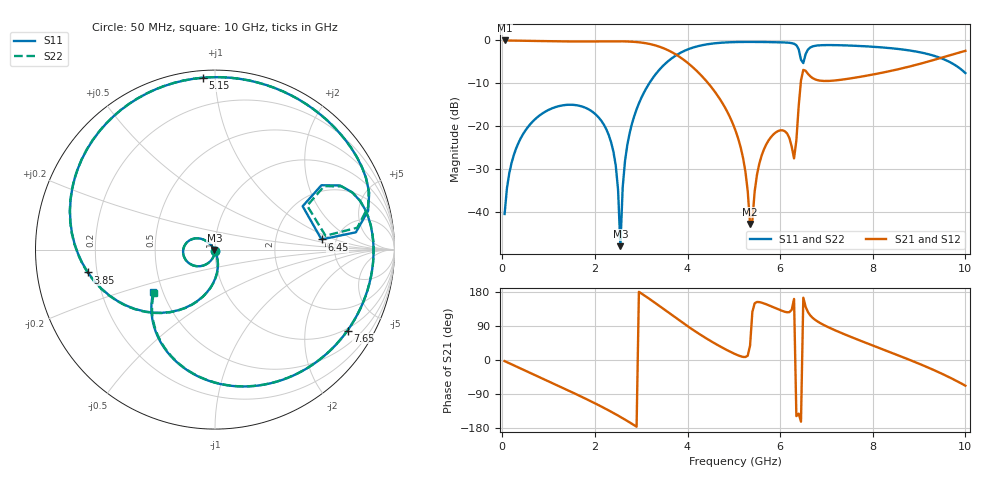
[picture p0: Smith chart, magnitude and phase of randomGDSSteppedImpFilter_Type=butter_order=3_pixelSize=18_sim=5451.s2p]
! freq	dB(S11)	phase(S11)	dB(S12)	phase(S12)
!  dB(S21)	phase(S21)	dB(S22)	phase(S22)
!S-par simulation data
#  GHz  S  DB  R 50
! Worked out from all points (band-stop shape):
!   200 points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, 50 MHz to 10 GHz, reference 50 ohm
!   highest |S21| = 0.00 dB at 50 MHz (marker M1); lowest = -42.7 dB at 5.35 GHz (marker M2)
!   |S21| within 3 dB of the highest: start of sweep to 3.707 GHz; 9.804 GHz to end of sweep
!   lowest |S11| = -47.9 dB at 2.55 GHz (marker M3), VSWR 1.01, Z = 49.7 - j0.227 ohm
!   |S11| at or under -10 dB: start of sweep to 3.173 GHz
!   |S22| runs from -48.0 to -0.3 dB; largest |S21 - S12| = 0
!   S11 on the Smith chart (normalised r, x): 50 MHz: 1.00, -0.02; 3.85 GHz: 0.16, -0.09; 5.15 GHz: 0.04, +0.93; 6.45 GHz: 3.83, +0.67; 7.65 GHz: 0.93, -3.32; 10 GHz: 0.44, -0.25
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0.05  -40.41 -92.3  -0.00 -2.9  -0.00 -2.9  -40.41 -92.3
0.2  -28.52 -101.3  -0.02 -11.4  -0.02 -11.4  -28.52 -101.3
0.55  -20.21 -121.7  -0.08 -31.2  -0.08 -31.2  -20.21 -121.7
1.75  -15.49 170.2  -0.24 -99.2  -0.24 -99.2  -15.49 170.3
2.35  -23.71 134.8  -0.19 -136.5  -0.19 -136.5  -23.71 134.9
2.5  -34.77 132.6  -0.20 -146.6  -0.20 -146.6  -34.78 132.5
2.55  -47.90 -145.5  -0.20 -150.1  -0.20 -150.1  -48.03 -144.8
2.6  -34.21 -76.3  -0.21 -153.6  -0.21 -153.6  -34.21 -75.9
2.75  -21.57 -78.7  -0.27 -164.6  -0.27 -164.6  -21.57 -78.5
3.4  -6.73 -130.2  -1.48 141.9  -1.48 141.9  -6.72 -129.9
3.85  -2.86 -169.8  -3.98 102.1  -3.98 102.1  -2.86 -169.5
4.35  -1.04 149.3  -8.77 61.2  -8.77 61.2  -1.04 149.6
5.05  -0.37 100.4  -21.41 14.4  -21.41 14.4  -0.37 100.9
5.15  -0.35 94.1  -25.02 9.7  -25.02 9.7  -0.35 94.5
5.35  -0.34 81.7  -42.72 38.0  -42.72 38.0  -0.34 82.2
5.75  -0.38 57.8  -23.28 144.6  -23.28 144.6  -0.38 58.3
6.3  -0.77 20.2  -27.46 161.2  -27.46 161.2  -0.74 21.3
6.45  -4.49 5.4  -9.30 -162.8  -9.30 -162.8  -4.14 7.2
6.7  -1.40 18.8  -8.76 111.4  -8.76 111.4  -1.38 18.5
7.65  -1.26 -31.4  -8.61 55.0  -8.61 55.0  -1.26 -31.1
8.35  -1.76 -63.0  -7.18 21.7  -7.18 21.7  -1.76 -62.7
10  -7.60 -145.4  -2.43 -67.8  -2.43 -67.8  -7.58 -144.5
